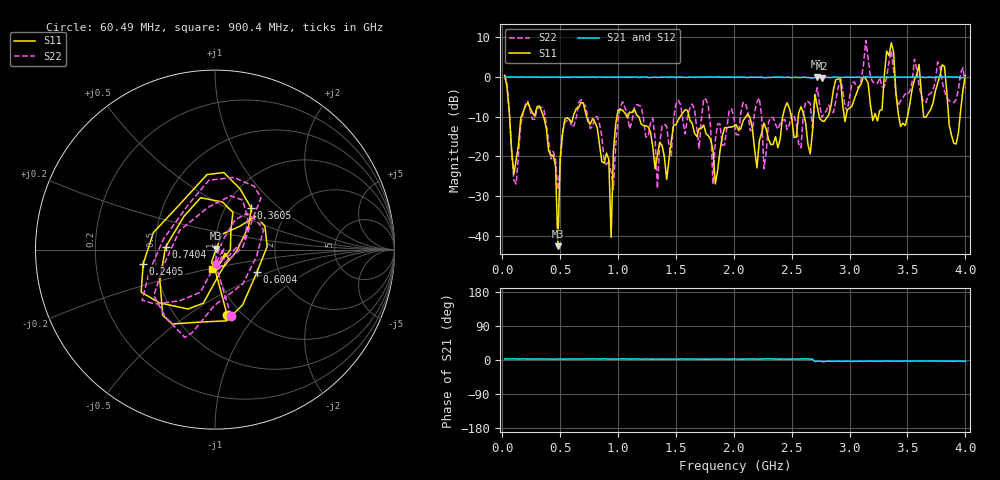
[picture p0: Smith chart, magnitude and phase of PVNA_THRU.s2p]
! PocketVna 1.78  pocketvna.com
! Live measurements ((Reflection-S11, Transmission-S21, Transmission-S12, Reflection-S22) Linear 500000-4000000000/201 calibrated)
# Hz S RI R 50
! Hz  ReS11  ImS11  ReS21  ImS21  ReS12  ImS12  ReS22  ImS22
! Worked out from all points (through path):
!   200 points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, 20.5 MHz to 4 GHz, reference 50 ohm
!   highest |S21| = 0.04 dB at 2.72 GHz (marker M1); lowest = -0.4 dB at 2.76 GHz (marker M2)
!   group delay of S21, straight-line fit = 5.19 ps
!   lowest |S11| = -42.5 dB at 480.4 MHz (marker M3), VSWR 1.02, Z = 50.6 + j0.435 ohm
!   |S11| at or under -10 dB: 1.178 GHz to 1.537 GHz (358.5 MHz wide, 26.4 % of centre); 1.613 GHz to 2.104 GHz (491.4 MHz wide, 26.4 % of centre); 2.135 GHz to 2.422 GHz (286.8 MHz wide, 12.6 % of centre)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
!   |S22| runs from -28.4 to 9.1 dB; largest |S21 - S12| = 0.04
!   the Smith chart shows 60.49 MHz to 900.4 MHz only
!   S11 on the Smith chart (normalised r, x): 60.49 MHz: 0.86, -0.72; 240.5 MHz: 0.42, -0.08; 360.5 MHz: 1.31, +0.67; 600.4 MHz: 1.55, -0.41; 740.4 MHz: 0.57, +0.02; 900.4 MHz: 0.95, -0.21
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2.04975e7  0.8952 -0.5246  0.9796 0.0569  0.9803 0.0448  0.9061 -0.573
6.04925e7  0.0672 -0.3627  0.9935 0.0513  0.9905 0.0497  0.0896 -0.3695
2.4047e8  -0.4 -0.0795  0.9948 0.0491  0.9865 0.0494  -0.3649 -0.1199
3.60455e8  0.2023 0.2301  0.9841 0.0475  0.9877 0.045  0.256 0.2877
4.8044e8  0.00609 0.0043  0.994 0.0427  0.9939 0.0485  0.00778 -0.0374
6.00425e8  0.2346 -0.1238  0.9873 0.0466  0.995 0.0516  0.2327 -0.0349
7.004125e8  -0.2913 -0.3657  0.9899 0.0438  0.9946 0.0562  -0.2753 -0.3774
7.404075e8  -0.2757 0.0135  0.9852 0.0452  0.9914 0.0441  -0.2907 -0.0975
9.003875e8  -0.014 -0.1094  0.9838 0.0428  0.9933 0.0495  0.00701 -0.0784
1.36033e9  -0.00713 -0.1503  0.9848 0.0348  0.9834 0.0388  -0.0636 -0.1301
2.020248e9  0.1853 -0.1681  0.9889 0.0427  0.9872 0.0318  0.1804 -0.0523
2.680165e9  0.2049 0.0458  0.9616 0.0318  0.9999 0.0209  -0.2125 -0.0759
2.72016e9  -0.4029 -0.1427  1.003 -0.0607  0.9645 -0.0698  0.00756 0.7293
2.760155e9  -0.0365 -0.2794  0.9579 -0.0684  0.9905 -0.0702  -0.3085 -0.00872
3.04012e9  0.3789 -0.3596  0.9818 -0.0591  0.9791 -0.0544  0.4642 -0.7343
3.140108e9  -0.6398 0.693  1.002 -0.0565  0.9917 -0.0574  -0.7514 2.766
3.260092e9  0.0516 -0.3743  0.9822 -0.0583  0.9816 -0.0622  0.2489 -0.9481
3.340082e9  0.5615 1.757  0.9823 -0.0524  0.986 -0.0539  0.8593 1.259
3.36008e9  -1.91 1.891  0.9927 -0.0503  0.9855 -0.056  -1.817 1.117
3.540058e9  0.6927 0.1147  0.9948 -0.045  0.9939 -0.0484  0.8082 0.3064
3.820022e9  -1.293 0.3839  0.9924 -0.05  0.9943 -0.0495  -0.6091 -0.2468
4e9  0.9137 0.5123  0.9907 -0.054  0.9876 -0.0517  -0.7077 -0.0878
